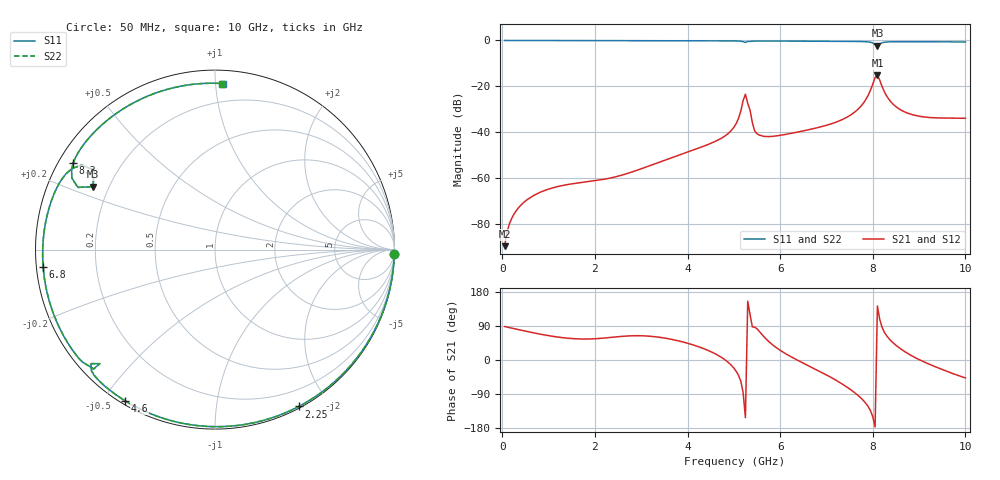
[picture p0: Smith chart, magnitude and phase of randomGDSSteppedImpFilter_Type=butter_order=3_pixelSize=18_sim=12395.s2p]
! freq	dB(S11)	phase(S11)	dB(S12)	phase(S12)
!  dB(S21)	phase(S21)	dB(S22)	phase(S22)
!S-par simulation data
#  GHz  S  DB  R 50
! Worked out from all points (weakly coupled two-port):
!   200 points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, 50 MHz to 10 GHz, reference 50 ohm
!   highest |S21| = -15.21 dB at 8.1 GHz (marker M1); lowest = -89.8 dB at 50 MHz (marker M2)
!   lowest |S11| = -2.3 dB at 8.1 GHz (marker M3), VSWR 7.46, Z = 7.09 + j11.9 ohm
!   |S11| at or under -10 dB: nowhere
!   |S22| runs from -2.3 to 0.0 dB; largest |S21 - S12| = 0
!   S11 on the Smith chart (normalised r, x): 50 MHz: 1, -79; 2.25 GHz: 0.02, -1.67; 4.6 GHz: 0.01, -0.57; 6.8 GHz: 0.02, -0.05; 8.3 GHz: 0.04, +0.28; 10 GHz: 0.08, +1.04
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0.05  -0.00 -1.4  -89.81 88.4  -89.81 88.4  -0.00 -1.4
0.15  -0.01 -4.3  -80.30 85.7  -80.30 85.7  -0.01 -4.3
0.35  -0.01 -9.9  -73.05 80.2  -73.05 80.2  -0.01 -9.9
0.7  -0.02 -19.8  -67.44 71.1  -67.44 71.1  -0.02 -19.7
1.75  -0.06 -48.6  -61.90 55.3  -61.90 55.3  -0.06 -48.6
2.25  -0.08 -61.9  -60.41 58.5  -60.41 58.5  -0.08 -61.9
3.4  -0.12 -91.3  -53.05 59.9  -53.05 59.9  -0.12 -91.3
4.6  -0.17 -120.8  -44.05 16.2  -44.05 16.2  -0.17 -120.7
5.05  -0.22 -132.3  -36.28 -29.6  -36.28 -29.6  -0.22 -132.2
5.25  -0.88 -135.3  -23.50 -152.1  -23.50 -152.1  -0.88 -135.2
5.45  -0.28 -139.7  -39.57 86.8  -39.57 86.8  -0.28 -139.7
5.55  -0.25 -142.5  -41.31 75.7  -41.31 75.7  -0.25 -142.5
6.7  -0.32 -171.6  -38.59 -20.5  -38.59 -20.5  -0.32 -171.6
6.8  -0.33 -174.2  -38.11 -26.7  -38.11 -26.7  -0.33 -174.2
7.65  -0.45 161.9  -30.60 -90.3  -30.60 -90.3  -0.45 162.0
7.85  -0.56 154.9  -25.79 -114.3  -25.79 -114.3  -0.55 155.0
8  -1.11 147.6  -19.06 -149.8  -19.06 -149.8  -1.11 147.8
8.1  -2.34 152.7  -15.21 142.6  -15.21 142.6  -2.33 152.7
8.3  -0.67 148.6  -24.25 63.9  -24.25 63.9  -0.67 148.7
8.35  -0.62 146.5  -25.76 56.3  -25.76 56.3  -0.62 146.6
8.9  -0.56 127.1  -32.64 7.3  -32.64 7.3  -0.56 127.2
10  -0.67 87.4  -33.98 -47.3  -33.98 -47.3  -0.67 87.5
